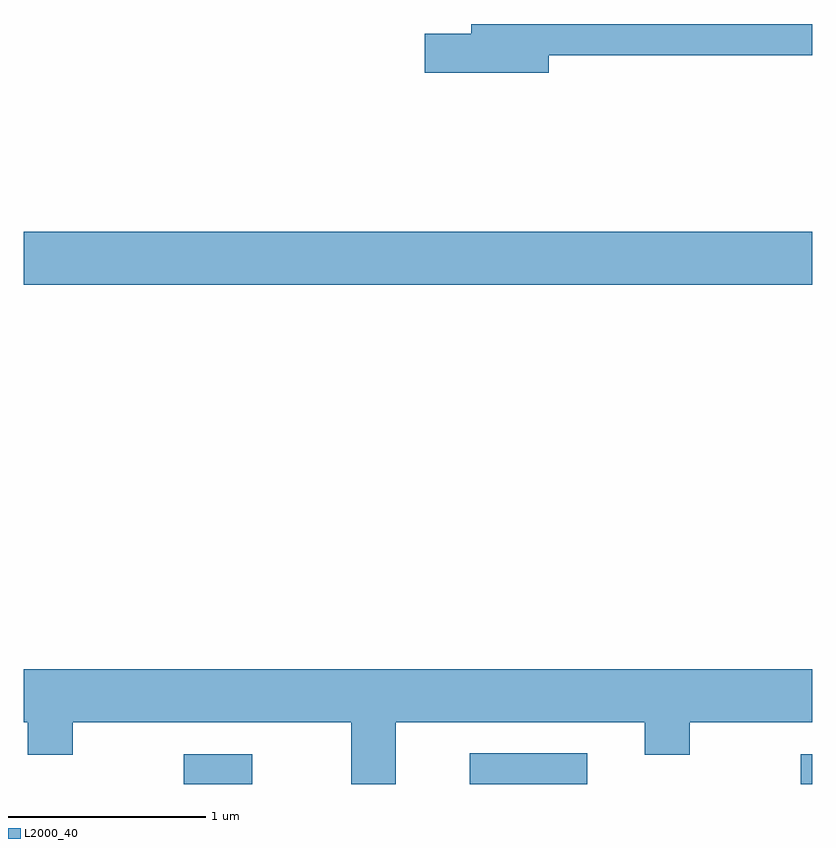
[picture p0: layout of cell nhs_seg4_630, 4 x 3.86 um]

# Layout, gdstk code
import gdstk
lib = gdstk.Library(unit=1e-6, precision=1e-09)
def R(c, l, rs):  # rectangles x0, y0, x1, y1
    for r in rs: c.add(gdstk.rectangle(r[:2], r[2:], *l))
def P(c, l, *ps):  # polygons
    for p in ps: c.add(gdstk.Polygon(p, *l))
L2000_40 = (2000, 40)

nhs_seg4_630 = lib.new_cell('nhs_seg4_630')
R(nhs_seg4_630, L2000_40, [(204.423,1289.982,204.769,1290.134), (205.873,1289.982,206.469,1290.139), (207.553,1289.982,207.611,1290.134), (203.611,1292.516,207.611,1292.784)])
P(nhs_seg4_630, L2000_40, [(206.274,1293.681),(207.611,1293.681),(207.611,1293.839),(205.881,1293.839),(205.881,1293.789),(205.646,1293.789),(205.646,1293.591),(206.274,1293.591)],
  [(205.499,1290.296),(206.761,1290.296),(206.761,1290.131),(206.989,1290.131),(206.989,1290.296),(207.611,1290.296),(207.611,1290.564),(203.611,1290.564),(203.611,1290.296),(203.631,1290.296),(203.631,1290.131),(203.859,1290.131),(203.859,1290.296),(205.271,1290.296),(205.271,1289.982),(205.499,1289.982)])

lib.write_gds('nhs_seg4_630.gds')
